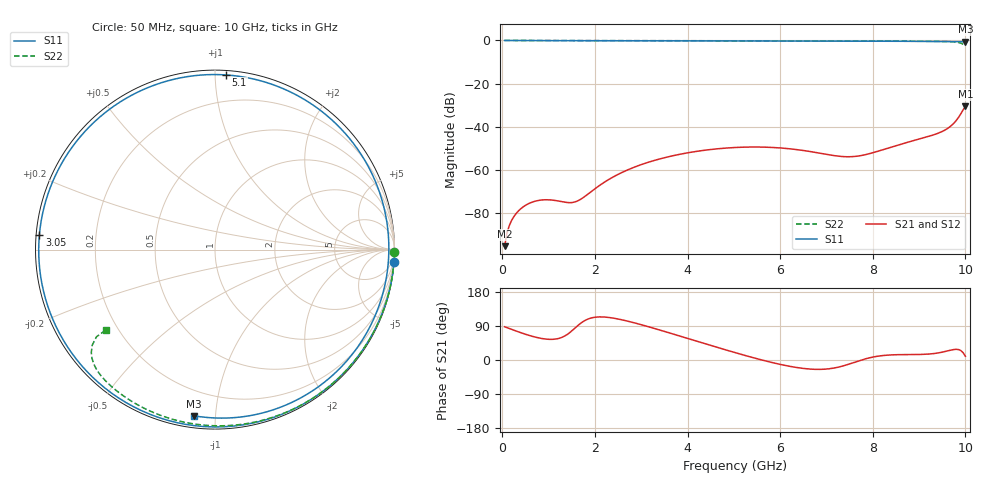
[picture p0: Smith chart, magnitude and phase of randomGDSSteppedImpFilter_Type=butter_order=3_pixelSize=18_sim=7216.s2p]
! freq	dB(S11)	phase(S11)	dB(S12)	phase(S12)
!  dB(S21)	phase(S21)	dB(S22)	phase(S22)
!S-par simulation data
#  GHz  S  DB  R 50
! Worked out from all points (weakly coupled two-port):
!   200 points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, 50 MHz to 10 GHz, reference 50 ohm
!   highest |S21| = -30.59 dB at 10 GHz (marker M1); lowest = -95.4 dB at 50 MHz (marker M2)
!   lowest |S11| = -0.6 dB at 10 GHz (marker M3), VSWR 29.35, Z = 3.03 - j44 ohm
!   |S11| at or under -10 dB: nowhere
!   |S22| runs from -2.4 to 0.0 dB; largest |S21 - S12| = 0
!   S11 on the Smith chart (normalised r, x): 50 MHz: 0, -29; 3.05 GHz: 0.01, +0.04; 5.1 GHz: 0.03, +1.07; 10 GHz: 0.06, -0.88
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0.05  -0.00 -3.9  -95.37 87.7  -95.37 87.7  -0.00 -0.8
0.3  -0.03 -23.2  -80.20 76.4  -80.20 76.4  -0.01 -4.6
0.45  -0.04 -34.6  -77.16 69.9  -77.16 69.9  -0.01 -6.9
0.9  -0.08 -67.1  -73.88 55.8  -73.88 55.8  -0.02 -13.8
1.3  -0.11 -93.5  -74.81 60.4  -74.81 60.4  -0.03 -19.9
1.55  -0.12 -108.7  -74.97 82.1  -74.97 82.1  -0.03 -23.7
1.75  -0.12 -120.2  -72.82 101.8  -72.82 101.8  -0.03 -26.7
2.4  -0.14 -154.3  -63.22 110.4  -63.22 110.4  -0.05 -36.4
3.05  -0.16 175.2  -57.19 91.5  -57.19 91.5  -0.06 -45.8
3.4  -0.17 159.5  -54.93 79.1  -54.93 79.1  -0.07 -50.9
4.25  -0.20 122.8  -51.25 47.8  -51.25 47.8  -0.09 -62.8
4.65  -0.21 105.6  -50.22 33.0  -50.22 33.0  -0.10 -68.2
5.05  -0.22 88.5  -49.60 18.7  -49.60 18.7  -0.11 -73.6
5.1  -0.22 86.4  -49.55 16.9  -49.55 16.9  -0.11 -74.3
5.85  -0.24 54.4  -49.62 -7.4  -49.62 -7.4  -0.14 -84.2
6.7  -0.26 19.0  -51.68 -24.4  -51.68 -24.4  -0.18 -95.0
7.55  -0.29 -14.4  -53.88 -8.3  -53.88 -8.3  -0.23 -105.7
8.35  -0.35 -43.4  -49.77 13.1  -49.77 13.1  -0.29 -115.6
8.95  -0.42 -63.7  -46.03 14.4  -46.03 14.4  -0.35 -123.4
9.55  -0.51 -83.0  -41.64 22.1  -41.64 22.1  -0.48 -132.6
9.8  -0.56 -90.9  -37.16 28.2  -37.16 28.2  -0.78 -138.6
10  -0.59 -97.2  -30.59 9.9  -30.59 9.9  -2.42 -143.6
